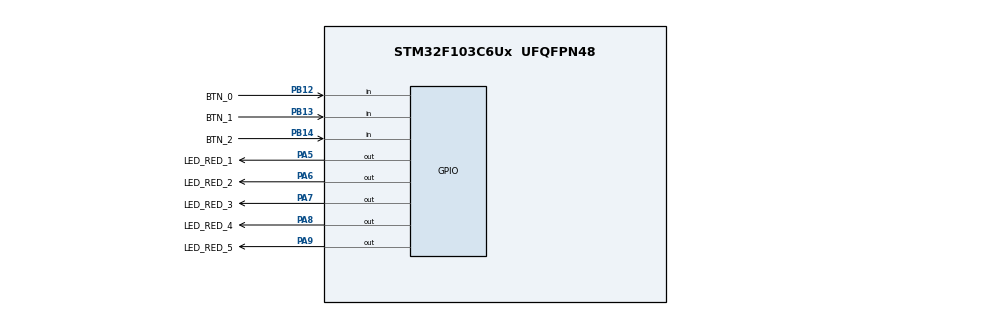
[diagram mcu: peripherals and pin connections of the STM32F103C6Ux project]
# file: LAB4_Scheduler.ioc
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IWDG.Prescaler=IWDG_PRESCALER_64
IWDG.Reload=3125
Mcu.Family=STM32F1
Mcu.Name=STM32F103C6Ux
Mcu.Package=UFQFPN48
NVIC.PriorityGroup=NVIC_PRIORITYGROUP_4
NVIC.TIM2_IRQn=true\:0\:0\:false\:false\:true\:true\:true
PA13.Mode=Serial_Wire
PA13.Signal=SYS_JTMS-SWDIO
PA14.Mode=Serial_Wire
PA14.Signal=SYS_JTCK-SWCLK
PA5.GPIO_Label=LED_RED_1
PA5.Signal=GPIO_Output
PA6.GPIO_Label=LED_RED_2
PA6.Signal=GPIO_Output
PA7.GPIO_Label=LED_RED_3
PA7.Signal=GPIO_Output
PA8.GPIO_Label=LED_RED_4
PA8.Signal=GPIO_Output
PA9.GPIO_Label=LED_RED_5
PA9.Signal=GPIO_Output
PB12.GPIO_Label=BTN_0
PB12.Signal=GPIO_Input
PB13.GPIO_Label=BTN_1
PB13.Signal=GPIO_Input
PB14.GPIO_Label=BTN_2
PB14.Signal=GPIO_Input
ProjectManager.HeapSize=0x200
ProjectManager.StackSize=0x400
ProjectManager.TargetToolchain=STM32CubeIDE
RCC.APB1Freq_Value=8000000
RCC.APB2Freq_Value=8000000
TIM2.Period=9
TIM2.Prescaler=7999
VP_IWDG_VS_IWDG.Mode=IWDG_Activate
VP_TIM2_VS_ClockSourceINT.Mode=Internal
board=custom

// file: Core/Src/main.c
/* USER CODE BEGIN Header */
/**
  ******************************************************************************
  * @file           : main.c
  * @brief          : Main program body
  ******************************************************************************
  * @attention
  *
  * <h2><center>&copy; Copyright (c) 2024 STMicroelectronics.
  * All rights reserved.</center></h2>
  *
  * This software component is licensed by ST under BSD 3-Clause license,
  * the "License"; You may not use this file except in compliance with the
  * License. You may obtain a copy of the License at:
  *                        opensource.org/licenses/BSD-3-Clause
  *
  ******************************************************************************
  */
/* USER CODE END Header */
#include "main.h"

/* USER CODE BEGIN Includes */
#include "common.h"
#include "software_timer.h"
#include "scheduler.h"
#include "tasks.h"
/* USER CODE END Includes */

IWDG_HandleTypeDef hiwdg;

TIM_HandleTypeDef htim2;

void SystemClock_Config(void);
static void MX_GPIO_Init(void);
static void MX_TIM2_Init(void);
static void MX_IWDG_Init(void);
/* USER CODE BEGIN PFP */
void HAL_TIM_PeriodElapsedCallback(TIM_HandleTypeDef *htim);
/* USER CODE END PFP */

int main(void)
{

  /* MCU Configuration--------------------------------------------------------*/

  /* Reset of all peripherals, Initializes the Flash interface and the Systick. */
  HAL_Init();

  /* Configure the system clock */
  SystemClock_Config();

  /* Initialize all configured peripherals */
  MX_GPIO_Init();
  MX_TIM2_Init();
  MX_IWDG_Init();
  /* USER CODE BEGIN 2 */
  HAL_TIM_Base_Start_IT(&htim2);
  HAL_IWDG_Init(&hiwdg);

  SCH_Init();

  SCH_Add_Task(get3ButtonInput, 2, msToTick(20));
  SCH_Add_Task(blinkyLED1, 1, msToTick(1000));
  SCH_Add_Task(controlLED234, 3, msToTick(50));
  SCH_Add_Task(blinkyLED5, 1, msToTick(5000));
  /* USER CODE END 2 */

  /* Infinite loop */
  /* USER CODE BEGIN WHILE */
  while (1)
  {
	  HAL_IWDG_Refresh(&hiwdg); // 5s
	  SCH_Dispatch_Tasks();
    /* USER CODE END WHILE */

  }
}

void SystemClock_Config(void)
{
  RCC_OscInitTypeDef RCC_OscInitStruct = {0};
  RCC_ClkInitTypeDef RCC_ClkInitStruct = {0};

  /** Initializes the RCC Oscillators according to the specified parameters
  * in the RCC_OscInitTypeDef structure.
  */
  RCC_OscInitStruct.OscillatorType = RCC_OSCILLATORTYPE_HSI|RCC_OSCILLATORTYPE_LSI;
  RCC_OscInitStruct.HSIState = RCC_HSI_ON;
  RCC_OscInitStruct.HSICalibrationValue = RCC_HSICALIBRATION_DEFAULT;
  RCC_OscInitStruct.LSIState = RCC_LSI_ON;
  RCC_OscInitStruct.PLL.PLLState = RCC_PLL_NONE;
  if (HAL_RCC_OscConfig(&RCC_OscInitStruct) != HAL_OK)
  {
    Error_Handler();
  }
  /** Initializes the CPU, AHB and APB buses clocks
  */
  RCC_ClkInitStruct.ClockType = RCC_CLOCKTYPE_HCLK|RCC_CLOCKTYPE_SYSCLK
                              |RCC_CLOCKTYPE_PCLK1|RCC_CLOCKTYPE_PCLK2;
  RCC_ClkInitStruct.SYSCLKSource = RCC_SYSCLKSOURCE_HSI;
  RCC_ClkInitStruct.AHBCLKDivider = RCC_SYSCLK_DIV1;
  RCC_ClkInitStruct.APB1CLKDivider = RCC_HCLK_DIV1;
  RCC_ClkInitStruct.APB2CLKDivider = RCC_HCLK_DIV1;

  if (HAL_RCC_ClockConfig(&RCC_ClkInitStruct, FLASH_LATENCY_0) != HAL_OK)
  {
    Error_Handler();
  }
}

static void MX_IWDG_Init(void)
{

  hiwdg.Instance = IWDG;
  hiwdg.Init.Prescaler = IWDG_PRESCALER_64;
  hiwdg.Init.Reload = 3125;
  if (HAL_IWDG_Init(&hiwdg) != HAL_OK)
  {
    Error_Handler();
  }

}

static void MX_TIM2_Init(void)
{

  TIM_ClockConfigTypeDef sClockSourceConfig = {0};
  TIM_MasterConfigTypeDef sMasterConfig = {0};

  htim2.Instance = TIM2;
  htim2.Init.Prescaler = 7999;
  htim2.Init.CounterMode = TIM_COUNTERMODE_UP;
  htim2.Init.Period = 9;
  htim2.Init.ClockDivision = TIM_CLOCKDIVISION_DIV1;
  htim2.Init.AutoReloadPreload = TIM_AUTORELOAD_PRELOAD_DISABLE;
  if (HAL_TIM_Base_Init(&htim2) != HAL_OK)
  {
    Error_Handler();
  }
  sClockSourceConfig.ClockSource = TIM_CLOCKSOURCE_INTERNAL;
  if (HAL_TIM_ConfigClockSource(&htim2, &sClockSourceConfig) != HAL_OK)
  {
    Error_Handler();
  }
  sMasterConfig.MasterOutputTrigger = TIM_TRGO_RESET;
  sMasterConfig.MasterSlaveMode = TIM_MASTERSLAVEMODE_DISABLE;
  if (HAL_TIMEx_MasterConfigSynchronization(&htim2, &sMasterConfig) != HAL_OK)
  {
    Error_Handler();
  }

}

static void MX_GPIO_Init(void)
{
  GPIO_InitTypeDef GPIO_InitStruct = {0};

  /* GPIO Ports Clock Enable */
  __HAL_RCC_GPIOA_CLK_ENABLE();
  __HAL_RCC_GPIOB_CLK_ENABLE();

  /*Configure GPIO pin Output Level */
  HAL_GPIO_WritePin(GPIOA, LED_RED_1_Pin|LED_RED_2_Pin|LED_RED_3_Pin|LED_RED_4_Pin
                          |LED_RED_5_Pin, GPIO_PIN_RESET);

  /*Configure GPIO pins : LED_RED_1_Pin LED_RED_2_Pin LED_RED_3_Pin LED_RED_4_Pin
                           LED_RED_5_Pin */
  GPIO_InitStruct.Pin = LED_RED_1_Pin|LED_RED_2_Pin|LED_RED_3_Pin|LED_RED_4_Pin
                          |LED_RED_5_Pin;
  GPIO_InitStruct.Mode = GPIO_MODE_OUTPUT_PP;
  GPIO_InitStruct.Pull = GPIO_NOPULL;
  GPIO_InitStruct.Speed = GPIO_SPEED_FREQ_LOW;
  HAL_GPIO_Init(GPIOA, &GPIO_InitStruct);

  /*Configure GPIO pins : BTN_0_Pin BTN_1_Pin BTN_2_Pin */
  GPIO_InitStruct.Pin = BTN_0_Pin|BTN_1_Pin|BTN_2_Pin;
  GPIO_InitStruct.Mode = GPIO_MODE_INPUT;
  GPIO_InitStruct.Pull = GPIO_NOPULL;
  HAL_GPIO_Init(GPIOB, &GPIO_InitStruct);

}

/* USER CODE BEGIN 4 */
void HAL_TIM_PeriodElapsedCallback(TIM_HandleTypeDef *htim)
{
	SCH_Update();
}
/* USER CODE END 4 */

void Error_Handler(void)
{
  __disable_irq();
  while (1)
  {
  }
}

/************************ (C) COPYRIGHT STMicroelectronics *****END OF FILE****/
